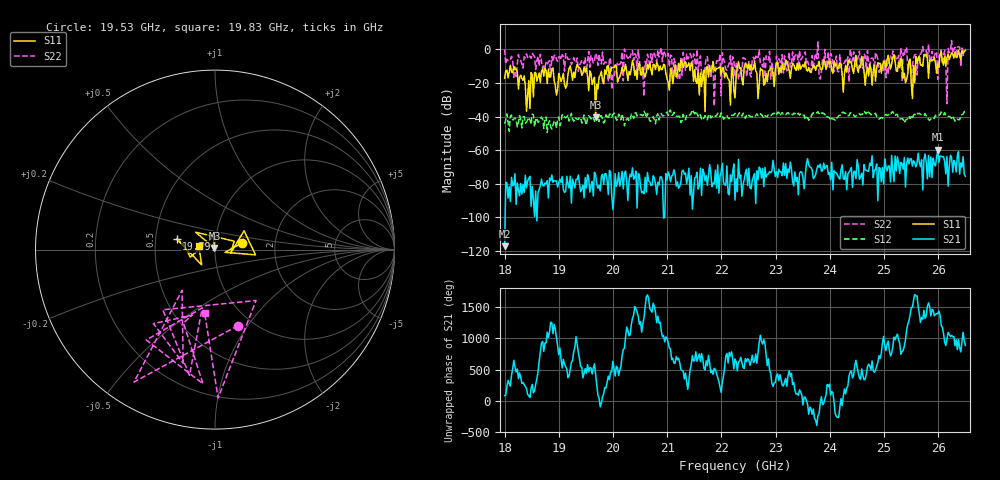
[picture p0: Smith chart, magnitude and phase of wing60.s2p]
!Keysight Technologies,N5242B,MY47200105,A.14.00.23
!Date: Friday, May 10, 2024 11:01:26
!Correction: S11(C  2-Port  )
!S21(C  2-Port  )
!S12(C  2-Port  )
!S22(C  2-Port  )
!S2P File: Measurement: :
# Hz S  RI  R 50
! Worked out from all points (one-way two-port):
!   401 points, 18 GHz to 26.5 GHz, reference 50 ohm
!   highest |S21| = -59.62 dB at 25.99 GHz (marker M1); lowest = -117.1 dB at 18 GHz (marker M2)
!   lowest |S11| = -40.5 dB at 19.68 GHz (marker M3), VSWR 1.02, Z = 49.7 + j0.884 ohm
!   |S11| at or under -10 dB: 18.11 GHz to 19.21 GHz (1.102 GHz wide, 5.91 % of centre); 19.35 GHz to 19.9 GHz (552.5 MHz wide, 2.82 % of centre); 21.86 GHz to 22.3 GHz (438.2 MHz wide, 1.98 % of centre) (the widest 3 of 61)
!   |S22| runs from -33.8 to 5.2 dB; largest |S21 - S12| = 0.016
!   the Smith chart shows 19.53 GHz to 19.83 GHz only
!   S11 on the Smith chart (normalised r, x): 19.53 GHz: 1.35, +0.10; 19.79 GHz: 0.64, +0.08; 19.83 GHz: 0.83, +0.04
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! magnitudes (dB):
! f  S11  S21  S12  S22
! 18 GHz  -17.3  -117.1  -44.3  -0.1
! 18.19 GHz  -12.2  -74.0  -40.9  -10.6
! 18.43 GHz  -27.7  -78.3  -42.0  -4.9
! 18.72 GHz  -16.1  -81.3  -47.0  -9.3
! 19.42 GHz  -15.6  -83.0  -43.9  -6.4
! 19.53 GHz  -16.1  -74.5  -40.8  -7.1
! 19.68 GHz  -40.5  -74.7  -40.9  -2.5
! 19.79 GHz  -13.1  -75.6  -39.5  -8.8
! 19.83 GHz  -20.6  -80.3  -43.9  -8.9
! 20.02 GHz  -10.9  -87.2  -38.0  -16.5
! 20.38 GHz  -9.5  -77.3  -41.2  -6.6
! 20.55 GHz  -10.6  -84.5  -39.6  -13.7
! 20.85 GHz  -13.0  -80.7  -42.2  -4.6
! 21.23 GHz  -13.2  -81.5  -39.8  -18.3
! 21.4 GHz  -8.1  -70.7  -39.1  -4.4
! 21.66 GHz  -15.9  -71.3  -42.2  -14.1
! 21.85 GHz  -7.2  -79.7  -39.6  -8.8
! 22.25 GHz  -28.9  -89.7  -38.1  -16.4
! 23.67 GHz  -11.1  -71.7  -38.4  -3.8
! 25.1 GHz  -8.2  -69.5  -37.9  -5.8
! 25.99 GHz  -8.8  -59.6  -39.2  -17.9
! 26.5 GHz  -0.7  -75.6  -37.0  0.7
